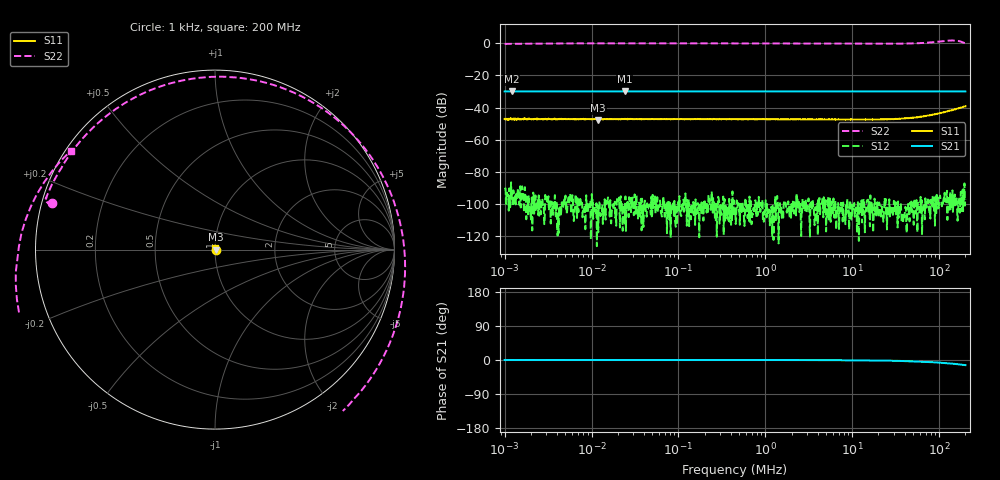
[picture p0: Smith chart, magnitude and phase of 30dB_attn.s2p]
! ListType=Log
# MHZ S RI R 50
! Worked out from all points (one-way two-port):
!   1000 points, 1 kHz to 200 MHz, reference 50 ohm
!   highest |S21| = -29.91 dB at 23.97 kHz (marker M1); lowest = -30.0 dB at 1.201 kHz (marker M2)
!   lowest |S11| = -47.8 dB at 11.95 kHz (marker M3), VSWR 1.01, Z = 50.4 - j0.0203 ohm
!   |S11| at or under -10 dB: start of sweep to end of sweep
!   |S22| runs from -0.5 to 1.7 dB; largest |S21 - S12| = 0.032
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0.001  0.00441 0.000266  0.0317 3.3e-05  -1.15e-05 -2.99e-05  -0.9089 0.26
0.0012011  0.00454 -1.57e-05  0.0317 3.81e-05  -1.51e-05 3e-07  -0.9129 0.2583
0.0076941  0.00444 -2.59e-05  0.0317 2.38e-05  -2.1e-06 8.4e-06  -0.9422 0.2759
0.011945  0.00407 -0.000201  0.0317 -1.47e-05  -1.2e-06 6e-07  -0.9435 0.2782
0.0239689  0.00444 -4e-06  0.0319 0.000163  -3.4e-06 -2.8e-06  -0.9432 0.2849
0.0584804  0.00441 1.18e-05  0.0317 -6e-06  1.1e-06 -7.5e-06  -0.9406 0.2882
0.4499541  0.00436 -5.34e-05  0.0317 -1.9e-05  1.8e-06 7.1e-06  -0.9349 0.303
3.419952  0.00435 0.00019  0.0317 -0.000143  -1.8e-06 -7.2e-06  -0.8867 0.4028
12.03851  0.00416 0.000715  0.0317 -0.00047  -7.5e-06 -3e-07  -0.7122 0.6466
26.31347  0.00405 0.00161  0.0317 -0.00101  3.6e-06 -3.5e-06  -0.3118 0.9064
38.43037  0.00383 0.0024  0.0317 -0.00147  1.2e-06 -2.3e-06  0.0882 0.9611
50.9003  0.00371 0.00322  0.0317 -0.00194  -1e-07 -2.3e-06  0.4925 0.8486
64.99008  0.00338 0.00405  0.0316 -0.00247  6e-06 -3.9e-06  0.8567 0.5339
81.97236  0.00289 0.00509  0.0316 -0.0031  5.3e-06 -7.1e-06  1.057 -0.0223
92.62555  0.00262 0.00576  0.0315 -0.0035  -3.4e-06 -4.1e-06  1.016 -0.4025
103.3922  0.00229 0.00641  0.0315 -0.00391  -9.6e-06 -1.12e-05  0.8402 -0.7545
116.8291  0.00186 0.00706  0.0314 -0.0044  1.25e-05 -4.9e-06  0.4616 -1.075
128.8255  0.00146 0.00779  0.0313 -0.00483  -1.25e-05 -1.01e-05  0.0311 -1.195
145.5678  0.000648 0.00858  0.0312 -0.00547  5.8e-06 -1.22e-05  -0.5687 -1.06
164.4859  -0.000121 0.00937  0.0311 -0.00618  4.6e-06 -3.3e-06  -1.028 -0.5582
179.1732  -0.000817 0.01  0.031 -0.00668  -1.87e-05 -8.8e-06  -1.102 -0.0581
200  -0.00199 0.0108  0.0308 -0.00745  -1.29e-05 -6.6e-06  -0.8026 0.5506
